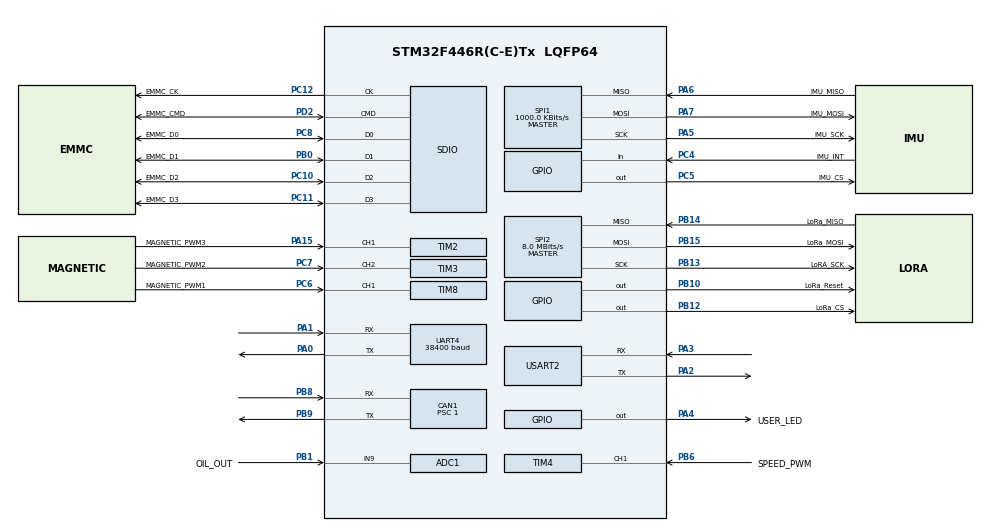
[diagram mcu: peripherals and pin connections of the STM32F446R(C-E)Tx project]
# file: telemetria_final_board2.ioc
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ADC1.Channel-0\#ChannelRegularConversion=ADC_CHANNEL_9
ADC1.ContinuousConvMode=ENABLE
ADC1.NbrOfConversionFlag=1
ADC1.Rank-0\#ChannelRegularConversion=1
ADC1.SamplingTime-0\#ChannelRegularConversion=ADC_SAMPLETIME_15CYCLES
ADC1.master=1
CAN1.BS1=CAN_BS1_13TQ
CAN1.BS2=CAN_BS2_2TQ
CAN1.CalculateBaudRate=1000000
CAN1.CalculateTimeBit=1000
CAN1.CalculateTimeQuantum=62.5
CAN1.Prescaler=1
Dma.Request0=SPI1_RX
Dma.Request1=SPI1_TX
Dma.Request2=SDIO_RX
Dma.Request3=SDIO_TX
Dma.Request4=UART4_RX
Dma.Request5=SPI2_RX
Dma.Request6=SPI2_TX
Dma.SDIO_RX.2.Direction=DMA_PERIPH_TO_MEMORY
Dma.SDIO_RX.2.FIFOMode=DMA_FIFOMODE_ENABLE
Dma.SDIO_RX.2.FIFOThreshold=DMA_FIFO_THRESHOLD_FULL
Dma.SDIO_RX.2.Instance=DMA2_Stream6
Dma.SDIO_RX.2.MemBurst=DMA_MBURST_INC4
Dma.SDIO_RX.2.MemDataAlignment=DMA_MDATAALIGN_WORD
Dma.SDIO_RX.2.MemInc=DMA_MINC_ENABLE
Dma.SDIO_RX.2.Mode=DMA_PFCTRL
Dma.SDIO_RX.2.PeriphBurst=DMA_PBURST_INC4
Dma.SDIO_RX.2.PeriphDataAlignment=DMA_PDATAALIGN_WORD
Dma.SDIO_RX.2.PeriphInc=DMA_PINC_DISABLE
Dma.SDIO_RX.2.Priority=DMA_PRIORITY_HIGH
Dma.SDIO_TX.3.Direction=DMA_MEMORY_TO_PERIPH
Dma.SDIO_TX.3.FIFOMode=DMA_FIFOMODE_ENABLE
Dma.SDIO_TX.3.FIFOThreshold=DMA_FIFO_THRESHOLD_FULL
Dma.SDIO_TX.3.Instance=DMA2_Stream3
Dma.SDIO_TX.3.MemBurst=DMA_MBURST_INC4
Dma.SDIO_TX.3.MemDataAlignment=DMA_MDATAALIGN_WORD
Dma.SDIO_TX.3.MemInc=DMA_MINC_ENABLE
Dma.SDIO_TX.3.Mode=DMA_PFCTRL
Dma.SDIO_TX.3.PeriphBurst=DMA_PBURST_INC4
Dma.SDIO_TX.3.PeriphDataAlignment=DMA_PDATAALIGN_WORD
Dma.SDIO_TX.3.PeriphInc=DMA_PINC_DISABLE
Dma.SDIO_TX.3.Priority=DMA_PRIORITY_HIGH
Dma.SPI1_RX.0.Direction=DMA_PERIPH_TO_MEMORY
Dma.SPI1_RX.0.FIFOMode=DMA_FIFOMODE_DISABLE
Dma.SPI1_RX.0.Instance=DMA2_Stream0
Dma.SPI1_RX.0.MemDataAlignment=DMA_MDATAALIGN_BYTE
Dma.SPI1_RX.0.MemInc=DMA_MINC_ENABLE
Dma.SPI1_RX.0.Mode=DMA_NORMAL
Dma.SPI1_RX.0.PeriphDataAlignment=DMA_PDATAALIGN_BYTE
Dma.SPI1_RX.0.PeriphInc=DMA_PINC_DISABLE
Dma.SPI1_RX.0.Priority=DMA_PRIORITY_HIGH
Dma.SPI1_TX.1.Direction=DMA_MEMORY_TO_PERIPH
Dma.SPI1_TX.1.FIFOMode=DMA_FIFOMODE_DISABLE
Dma.SPI1_TX.1.Instance=DMA2_Stream5
Dma.SPI1_TX.1.MemDataAlignment=DMA_MDATAALIGN_BYTE
Dma.SPI1_TX.1.MemInc=DMA_MINC_ENABLE
Dma.SPI1_TX.1.Mode=DMA_NORMAL
Dma.SPI1_TX.1.PeriphDataAlignment=DMA_PDATAALIGN_BYTE
Dma.SPI1_TX.1.PeriphInc=DMA_PINC_DISABLE
Dma.SPI1_TX.1.Priority=DMA_PRIORITY_HIGH
Dma.SPI2_RX.5.Direction=DMA_PERIPH_TO_MEMORY
Dma.SPI2_RX.5.FIFOMode=DMA_FIFOMODE_DISABLE
Dma.SPI2_RX.5.Instance=DMA1_Stream3
Dma.SPI2_RX.5.MemDataAlignment=DMA_MDATAALIGN_BYTE
Dma.SPI2_RX.5.MemInc=DMA_MINC_ENABLE
Dma.SPI2_RX.5.Mode=DMA_NORMAL
Dma.SPI2_RX.5.PeriphDataAlignment=DMA_PDATAALIGN_BYTE
Dma.SPI2_RX.5.PeriphInc=DMA_PINC_DISABLE
Dma.SPI2_RX.5.Priority=DMA_PRIORITY_LOW
Dma.SPI2_TX.6.Direction=DMA_MEMORY_TO_PERIPH
Dma.SPI2_TX.6.FIFOMode=DMA_FIFOMODE_DISABLE
Dma.SPI2_TX.6.Instance=DMA1_Stream4
Dma.SPI2_TX.6.MemDataAlignment=DMA_MDATAALIGN_BYTE
Dma.SPI2_TX.6.MemInc=DMA_MINC_ENABLE
Dma.SPI2_TX.6.Mode=DMA_NORMAL
Dma.SPI2_TX.6.PeriphDataAlignment=DMA_PDATAALIGN_BYTE
Dma.SPI2_TX.6.PeriphInc=DMA_PINC_DISABLE
Dma.SPI2_TX.6.Priority=DMA_PRIORITY_LOW
Dma.UART4_RX.4.Direction=DMA_PERIPH_TO_MEMORY
Dma.UART4_RX.4.FIFOMode=DMA_FIFOMODE_DISABLE
Dma.UART4_RX.4.Instance=DMA1_Stream2
Dma.UART4_RX.4.MemDataAlignment=DMA_MDATAALIGN_BYTE
Dma.UART4_RX.4.MemInc=DMA_MINC_ENABLE
Dma.UART4_RX.4.Mode=DMA_NORMAL
Dma.UART4_RX.4.PeriphDataAlignment=DMA_PDATAALIGN_BYTE
Dma.UART4_RX.4.PeriphInc=DMA_PINC_DISABLE
Dma.UART4_RX.4.Priority=DMA_PRIORITY_HIGH
Mcu.Family=STM32F4
Mcu.Name=STM32F446R(C-E)Tx
Mcu.Package=LQFP64
NVIC.ADC_IRQn=true\:0\:0\:false\:false\:true\:true\:true\:true
NVIC.CAN1_RX0_IRQn=true\:0\:0\:false\:false\:true\:true\:true\:true
NVIC.CAN1_RX1_IRQn=true\:0\:0\:false\:false\:true\:true\:true\:true
NVIC.DMA1_Stream2_IRQn=true\:0\:0\:false\:false\:true\:false\:true\:true
NVIC.DMA1_Stream3_IRQn=true\:0\:0\:false\:false\:true\:false\:true\:true
NVIC.DMA1_Stream4_IRQn=true\:0\:0\:false\:false\:true\:false\:true\:true
NVIC.DMA2_Stream0_IRQn=true\:0\:0\:false\:false\:true\:false\:true\:true
NVIC.DMA2_Stream3_IRQn=true\:0\:0\:false\:false\:true\:false\:true\:true
NVIC.DMA2_Stream5_IRQn=true\:0\:0\:false\:false\:true\:false\:true\:true
NVIC.DMA2_Stream6_IRQn=true\:0\:0\:false\:false\:true\:false\:true\:true
NVIC.PriorityGroup=NVIC_PRIORITYGROUP_4
NVIC.SDIO_IRQn=true\:0\:0\:false\:false\:true\:true\:true\:true
NVIC.TIM1_BRK_TIM9_IRQn=true\:0\:0\:false\:false\:true\:true\:true\:true
NVIC.TIM1_CC_IRQn=true\:0\:0\:false\:false\:true\:true\:true\:true
NVIC.TIM1_TRG_COM_TIM11_IRQn=true\:0\:0\:false\:false\:true\:true\:true\:true
NVIC.TIM1_UP_TIM10_IRQn=true\:0\:0\:false\:false\:true\:true\:true\:true
NVIC.TIM2_IRQn=true\:0\:0\:false\:false\:true\:true\:true\:true
NVIC.TIM3_IRQn=true\:0\:0\:false\:false\:true\:true\:true\:true
NVIC.TIM4_IRQn=true\:0\:0\:false\:false\:true\:true\:true\:true
NVIC.TIM8_BRK_TIM12_IRQn=true\:0\:0\:false\:false\:true\:true\:true\:true
NVIC.TIM8_CC_IRQn=true\:0\:0\:false\:false\:true\:true\:true\:true
NVIC.TIM8_TRG_COM_TIM14_IRQn=true\:0\:0\:false\:false\:true\:true\:true\:true
NVIC.TIM8_UP_TIM13_IRQn=true\:0\:0\:false\:false\:true\:true\:true\:true
NVIC.UART4_IRQn=true\:0\:0\:false\:false\:true\:true\:true\:true
PA0-WKUP.Mode=Asynchronous
PA0-WKUP.Signal=UART4_TX
PA1.Mode=Asynchronous
PA1.Signal=UART4_RX
PA13.Mode=Serial_Wire
PA13.Signal=SYS_JTMS-SWDIO
PA14.Mode=Serial_Wire
PA14.Signal=SYS_JTCK-SWCLK
PA15.GPIO_Label=MAGNETIC_PWM3
PA15.Signal=S_TIM2_CH1_ETR
PA2.Mode=Asynchronous
PA2.Signal=USART2_TX
PA3.Mode=Asynchronous
PA3.Signal=USART2_RX
PA4.GPIO_Label=USER_LED
PA4.Signal=GPIO_Output
PA5.GPIO_Label=IMU_SCK
PA5.Mode=Full_Duplex_Master
PA5.Signal=SPI1_SCK
PA6.GPIO_Label=IMU_MISO
PA6.Mode=Full_Duplex_Master
PA6.Signal=SPI1_MISO
PA7.GPIO_Label=IMU_MOSI
PA7.Mode=Full_Duplex_Master
PA7.Signal=SPI1_MOSI
PB0.GPIO_Label=EMMC_D1
PB0.Mode=mmc_4_bits_Wide_bus
PB0.Signal=SDIO_D1
PB1.GPIO_Label=OIL_OUT
PB1.Signal=ADCx_IN9
PB10.GPIO_Label=LoRa_Reset
PB10.Signal=GPIO_Output
PB12.GPIO_Label=LoRa_CS
PB12.Signal=GPIO_Output
PB13.GPIO_Label=LoRA_SCK
PB13.Mode=Full_Duplex_Master
PB13.Signal=SPI2_SCK
PB14.GPIO_Label=LoRa_MISO
PB14.Mode=Full_Duplex_Master
PB14.Signal=SPI2_MISO
PB15.GPIO_Label=LoRa_MOSI
PB15.Mode=Full_Duplex_Master
PB15.Signal=SPI2_MOSI
PB6.GPIO_Label=SPEED_PWM
PB6.Signal=S_TIM4_CH1
PB8.Mode=CAN_Activate
PB8.Signal=CAN1_RX
PB9.Mode=CAN_Activate
PB9.Signal=CAN1_TX
PC10.GPIO_Label=EMMC_D2
PC10.Mode=mmc_4_bits_Wide_bus
PC10.Signal=SDIO_D2
PC11.GPIO_Label=EMMC_D3
PC11.Mode=mmc_4_bits_Wide_bus
PC11.Signal=SDIO_D3
PC12.GPIO_Label=EMMC_CK
PC12.Mode=mmc_4_bits_Wide_bus
PC12.Signal=SDIO_CK
PC14-OSC32_IN.Mode=LSE-External-Oscillator
PC14-OSC32_IN.Signal=RCC_OSC32_IN
PC15-OSC32_OUT.Mode=LSE-External-Oscillator
PC15-OSC32_OUT.Signal=RCC_OSC32_OUT
PC4.GPIO_Label=IMU_INT
PC4.Signal=GPIO_Input
PC5.GPIO_Label=IMU_CS
PC5.Signal=GPIO_Output
PC6.GPIO_Label=MAGNETIC_PWM1
PC6.Signal=S_TIM8_CH1
PC7.GPIO_Label=MAGNETIC_PWM2
PC7.Signal=S_TIM3_CH2
PC8.GPIO_Label=EMMC_D0
PC8.Mode=mmc_4_bits_Wide_bus
PC8.Signal=SDIO_D0
PD2.GPIO_Label=EMMC_CMD
PD2.Mode=mmc_4_bits_Wide_bus
PD2.Signal=SDIO_CMD
ProjectManager.HeapSize=0x200
ProjectManager.StackSize=0x400
ProjectManager.TargetToolchain=STM32CubeIDE
RCC.CortexFreq_Value=16000000
RCC.PLLQ=4
RCC.RCC_RTC_Clock_SourceVirtual=RCC_RTCCLKSOURCE_LSE
RCC.USBFreq_Value=48000000
RCC.VCOOutputFreq_Value=192000000
RTC.Date=25
RTC.Hours=15
RTC.Minutes=47
RTC.Month=RTC_MONTH_SEPTEMBER
RTC.WeekDay=RTC_WEEKDAY_THURSDAY
RTC.Year=25
SDIO.ClockDiv=118
SH.ADCx_IN9.0=ADC1_IN9,IN9
SH.S_TIM2_CH1_ETR.0=TIM2_CH1,PWM_Input_1
SH.S_TIM3_CH2.0=TIM3_CH2,PWM_Input_2
SH.S_TIM4_CH1.0=TIM4_CH1,PWM_Input_1
SH.S_TIM8_CH1.0=TIM8_CH1,PWM_Input_1
SPI1.BaudRatePrescaler=SPI_BAUDRATEPRESCALER_16
SPI1.CLKPhase=SPI_PHASE_2EDGE
SPI1.CLKPolarity=SPI_POLARITY_HIGH
SPI1.CalculateBaudRate=1000.0 KBits/s
SPI1.Direction=SPI_DIRECTION_2LINES
SPI1.Mode=SPI_MODE_MASTER
SPI1.VirtualType=VM_MASTER
SPI2.CalculateBaudRate=8.0 MBits/s
SPI2.Direction=SPI_DIRECTION_2LINES
SPI2.Mode=SPI_MODE_MASTER
SPI2.VirtualType=VM_MASTER
TIM1.Period=999
TIM1.Prescaler=79
TIM14.Period=99
TIM14.Prescaler=159
TIM2.Prescaler=9
TIM8.ICFilter_2=0
TIM8.Prescaler=0
UART4.BaudRate=38400
UART4.VirtualMode=Asynchronous
USART2.VirtualMode=VM_ASYNC
VP_RTC_VS_RTC_Activate.Mode=RTC_Enabled
VP_RTC_VS_RTC_Calendar.Mode=RTC_Calendar
VP_TIM14_VS_ClockSourceINT.Mode=Enable_Timer
VP_TIM1_VS_ClockSourceINT.Mode=Internal
VP_TIM2_VS_ClockSourceINT.Mode=Internal
VP_TIM3_VS_ClockSourceINT.Mode=Internal
VP_TIM4_VS_ClockSourceINT.Mode=Internal
VP_TIM8_VS_ClockSourceINT.Mode=Internal
board=custom

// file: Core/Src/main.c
/* USER CODE BEGIN Header */
/**
  ******************************************************************************
  * @file           : main.c
  * @brief          : Main program body
  ******************************************************************************
  * @attention
  *
  * Copyright (c) 2025 STMicroelectronics.
  * All rights reserved.
  *
  * This software is licensed under terms that can be found in the LICENSE file
  * in the root directory of this software component.
  * If no LICENSE file comes with this software, it is provided AS-IS.
  *
  ******************************************************************************
  */
/* USER CODE END Header */
#include "main.h"

/* USER CODE BEGIN Includes */
#include <stdio.h>
#include <string.h>

#include "CO_app_STM32.h"
#include "OD.h"
/* USER CODE END Includes */

ADC_HandleTypeDef hadc1;

CAN_HandleTypeDef hcan1;

RTC_HandleTypeDef hrtc;

MMC_HandleTypeDef hmmc;
DMA_HandleTypeDef hdma_sdio_rx;
DMA_HandleTypeDef hdma_sdio_tx;

SPI_HandleTypeDef hspi1;
SPI_HandleTypeDef hspi2;
DMA_HandleTypeDef hdma_spi1_rx;
DMA_HandleTypeDef hdma_spi1_tx;
DMA_HandleTypeDef hdma_spi2_rx;
DMA_HandleTypeDef hdma_spi2_tx;

TIM_HandleTypeDef htim1;
TIM_HandleTypeDef htim2;
TIM_HandleTypeDef htim3;
TIM_HandleTypeDef htim4;
TIM_HandleTypeDef htim8;
TIM_HandleTypeDef htim14;

UART_HandleTypeDef huart4;
UART_HandleTypeDef huart2;
DMA_HandleTypeDef hdma_uart4_rx;

void SystemClock_Config(void);
static void MX_GPIO_Init(void);
static void MX_DMA_Init(void);
static void MX_SPI1_Init(void);
static void MX_USART2_UART_Init(void);
static void MX_SDIO_MMC_Init(void);
static void MX_RTC_Init(void);
static void MX_UART4_Init(void);
static void MX_TIM14_Init(void);
static void MX_CAN1_Init(void);
static void MX_TIM4_Init(void);
static void MX_TIM3_Init(void);
static void MX_TIM8_Init(void);
static void MX_SPI2_Init(void);
static void MX_TIM1_Init(void);
static void MX_TIM2_Init(void);
static void MX_ADC1_Init(void);

/* USER CODE BEGIN 0 */

#define Oil_pressure_data_size sizeof(int)

uint32_t memBlock=1;

Sensor accel; // data saved as xyz
Sensor gyro; // data saved as xyz
Sensor mag; //

uint32_t timestamp = 0;
uint32_t counter_ms = 0;

char timestamp_str[20];  // "YYYYMMDD_HHMMSS\r\n\0" = 18+1 máx
char timestamp_msg[50];

RTC_TimeTypeDef sTime;
RTC_DateTypeDef sDate;

/*#define CAPTURE_BUFFER_SIZE 100
typedef struct {
	Sensor sensor;
	uint32_t ultima_pos;
	uint32_t atual_pos;
	uint32_t ch1_buffer[CAPTURE_BUFFER_SIZE];
	uint32_t ch2_buffer[CAPTURE_BUFFER_SIZE];
	uint32_t tempo_total_us;

} Speed_Sensor;

Speed_Sensor speed_sensor;*/

Sensor speed_sensor; //saving signal frequency
Sensor front_susp_sensor;
Sensor rear_susp_sensor;
Sensor steering_angle_sensor;
uint32_t capture_value_speed, capture_value2_speed, frequency_speed;
//--------------------------------------------------------------
//extitimvelocidade
//--------------------------------------------------------------

/*uint16_t calcular_velocidade_kmh_int(uint32_t pos) {
	uint64_t soma_us = 0;

	for (int i = 0; i < MEDIA_N; i++) {
		uint32_t idx = (pos - i + CAPTURE_BUFFER_SIZE) % CAPTURE_BUFFER_SIZE;
		soma_us += speed_sensor.ch2_buffer[idx];
	}

	if (soma_us == 0)
		return 0;

	uint32_t media_us = soma_us / MEDIA_N;
	uint32_t velocidade_kmh = (ESCALA_TOTAL * MM_POR_ROT)
			/ (media_us * PULSOS_POR_ROT);

	return (uint16_t) velocidade_kmh;
}

void speedsensorisr(){
	static uint32_t ultima_pos = 0;
	uint32_t atual_pos = DMA_POS();
	if (atual_pos >= CAPTURE_BUFFER_SIZE)
		return;

	if (atual_pos != ultima_pos) {
		ultima_pos = atual_pos;
		uint32_t delta_us = speed_sensor.ch2_buffer[atual_pos];
		speed_sensor.tempo_total_us += delta_us;
		uint16_t vel_kmh = calcular_velocidade_kmh_int(atual_pos);
		uint8_t inteiro = vel_kmh / 100;
		uint8_t decimal = vel_kmh % 100;
		//rpm = vel_kmh *1000 / (pi * D * 60)

		char msg[128];
		snprintf(msg, sizeof(msg),
				"Tempo = %lu us | Velocidade = %u.%02u km/h | Δt = %lu us\r\n",
				speed_sensor.tempo_total_us, inteiro, decimal, delta_us);

		HAL_UART_Transmit(&huart2, (uint8_t*) msg, strlen(msg),HAL_MAX_DELAY);
	}
}*/

//RTC---------------------------------------
LoRaMessage loraGpsMsg;  // acessado no callback e no SendLoRa
LoRaMessage loraIMUMsg;  // acessado no callback e no SendLoRa
LoRaMessage loraCAN1HzMsg;  // acessado no callback e no SendLoRa
LoRaMessage loraCAN2HzMsg;  // acessado no callback e no SendLoRa
LoRaMessage loraSpeedMsg;  // acessado no callback e no SendLoRa
LoRaMessage loraOilMsg;  // acessado no callback e no SendLoRa

char uart_msg[1050];
Sensor gps;
int flagGPS=0;
uint8_t rx_dma_buffer[NMEA_BUF_SIZE];  // Buffer DMA para recepção
int flagLoRaModuleInitialized=0;

void HAL_UARTEx_RxEventCallback(UART_HandleTypeDef *huart, uint16_t Size)
{
	//HAL_GPIO_WritePin(GPIOA, GPIO_PIN_10,1);
    if (huart->Instance == UART4) {
    	flagLoRaGPS= flagLoRaModuleInitialized & 1;
    	gps_RxEventCallback(Size);

    }
    //HAL_GPIO_WritePin(GPIOA, GPIO_PIN_10,0);
}

//--------------------------------------------------------------
//IMU_SPI
//--------------------------------------------------------------
// Buffers para dados lidos
uint8_t tx_buffer[128];
uint8_t accelData[6]; //buffer com os dados do accel
uint8_t gyroData[6];
uint8_t accelSPI[6+6+1]; //buffer de leitura do SPI em que o primeiro não interessa

uint8_t magData[6];
uint8_t magSPI[9+1];        // buffer for 9 bytes mag data (+1 dummy)

//interrupt do SPI
void HAL_SPI_TxRxCpltCallback(SPI_HandleTypeDef *hspi) {
	//HAL_GPIO_WritePin(GPIOA, GPIO_PIN_9,1);
	if (hspi->Instance == SPI1) {
		IMU_TxRxCpltCallback();

	}
	//HAL_GPIO_WritePin(GPIOA, GPIO_PIN_9,0);
}

int counter=0;
int flagLoRaGPS=0;
int flagLoRaIMUAttitude=0;
int flagLoRaCAN1Hz=0;
int flagLoRaCAN2Hz=0;
int flagLoRaSpeed=0;
int flagLoRaOil=0;

void HAL_TIM_PeriodElapsedCallback(TIM_HandleTypeDef *htim)
{
  if(htim->Instance == TIM1)
  {
	/*if(counter % 4 == 0){ //50Hz
		//Strain_gauge_ISR();
	}*/
	if(counter % 20 == 0){ //10Hz
		ICM20948_ISR(1);
		Speed_ISR();
		//flagLoRaGPS= flagLoRaModuleInitialized & 1;
		flagLoRaSpeed= flagLoRaModuleInitialized & 1;
		flagLoRaOil= flagLoRaModuleInitialized & 1;
	}else{
		ICM20948_ISR(0);
	}
	if(counter % 100 == 0) {  // 2Hz
		//IMU_Attitude_ISR();
		flagLoRaIMUAttitude= flagLoRaModuleInitialized & 1;
		flagLoRaCAN2Hz= flagLoRaModuleInitialized & 1;
	}
	if(counter % 200 == 0) {  // 1Hz
		flagLoRaCAN1Hz= flagLoRaModuleInitialized & 1;
	}

	Oil_pressure_ISR();
	Front_suspension_magnet_ISR();
	//Front_suspension_vision_ISR();
	Rear_suspension_ISR();
	Steering_angle_ISR();

	counter=(counter+1) % 10000;
  }
  if(htim->Instance == TIM14)
  {
	  counter_ms = (counter_ms + 1) % 1000;
  }
  if (htim == canopenNodeSTM32->timerHandle) {
      canopen_app_interrupt();
  }
}

////////////////////////////////////////////////////////////////////////////////////////////////////
////////////////////////////////////////////////////////////////////////////////////////////////////
//
//					MMC codes
//
////////////////////////////////////////////////////////////////////////////////////////////////////
//////////////////////////////////////////////////////////////////////////////////////////////////77

// Buffer de sector (alinhado p/ SDIO DMA)
__attribute__((aligned(4))) static uint8_t sector0[512];
__attribute__((aligned(4))) static uint8_t sector0read[512];

//////////////////////////////////////////////////////////////////////////////////////////////////////////
//
//              CANOPEN
//
//////////////////////////////////////////////////////////////////////////////////////////////////////77/
Sensor CAN;
CANopenNodeSTM32 canOpenNodeSTM32;

void canopeninit___(){
	canOpenNodeSTM32.CANHandle = &hcan1;
	canOpenNodeSTM32.HWInitFunction = MX_CAN1_Init;
	canOpenNodeSTM32.timerHandle = &htim14;
	canOpenNodeSTM32.desiredNodeID = 1;
	canOpenNodeSTM32.baudrate = 125;
	canopen_app_init(&canOpenNodeSTM32);
}

//////////////////////////////////////////////////////////////////////////////////////////////////////////
//
//              Oil Sensor
//
//////////////////////////////////////////////////////////////////////////////////////////////////////77/
Sensor oil_sensor;
// Callback de conversão completa do ADC – chamado quando ADC1 terminar uma conversão
void HAL_ADC_ConvCpltCallback(ADC_HandleTypeDef *hadc) {
    // Verifica se o callback veio do ADC1
    if (hadc->Instance == ADC1) {
        // Lê o valor convertido do ADC (0-4095 para 12 bits)
        uint16_t adcValue = HAL_ADC_GetValue(hadc);

		//snprintf((char *)tx_buffer, sizeof(tx_buffer),"%d\r\n",adcValue);
		//HAL_UART_Transmit(&huart2, tx_buffer, strlen((char *)tx_buffer), HAL_MAX_DELAY);
        save_data_to_sensor(&oil_sensor,adcValue);

    	//char msg[64];
    	//sprintf(msg, "ADC = %lu\r\n",adcValue);
    	//HAL_UART_Transmit(&huart2, (uint8_t*)msg, strlen(msg), HAL_MAX_DELAY);
    }
}

int programDateAndHour=0;
/* USER CODE END 0 */

int main(void)
{

  /* MCU Configuration--------------------------------------------------------*/

  /* Reset of all peripherals, Initializes the Flash interface and the Systick. */
  HAL_Init();

  /* Configure the system clock */
  SystemClock_Config();

  /* Initialize all configured peripherals */
  MX_GPIO_Init();
  MX_DMA_Init();
  MX_SPI1_Init();
  MX_USART2_UART_Init();
  MX_SDIO_MMC_Init();
  MX_RTC_Init();
  MX_UART4_Init();
  MX_TIM14_Init();
  MX_CAN1_Init();
  MX_TIM4_Init();
  MX_TIM3_Init();
  MX_TIM8_Init();
  MX_SPI2_Init();
  MX_TIM1_Init();
  MX_TIM2_Init();
  MX_ADC1_Init();
  /* USER CODE BEGIN 2 */
  snprintf(uart_msg, sizeof(uart_msg), "All STM32 peripherals configured!\r\n");
  HAL_UART_Transmit(&huart2, (uint8_t*)uart_msg, strlen(uart_msg), HAL_MAX_DELAY);

  __HAL_MMC_DISABLE(&hmmc);
  MODIFY_REG(hmmc.Instance->CLKCR, SDIO_CLKCR_CLKDIV, 2);  // ~6 MHz
  __HAL_MMC_ENABLE(&hmmc);

  int extract_data=0;
  if (extract_data){
	  SDIO_ReadAllData();
	  while(1);
  }

  int reset_mem=0;
  if(reset_mem)
	  update_memBlock_nr();
  get_memBlock_nr();

  // Início LoRa
  char startMsg[] = "\r\nIniciando transmissor LoRa...\r\n";
  int LoRaStartTries = 0;
  HAL_UART_Transmit(&huart2, (uint8_t*)startMsg, strlen(startMsg), HAL_MAX_DELAY);
  while (RFM95_Init() != RFM95_OK && LoRaStartTries < 10) {
      // Se falhar, tentar outra vez
      char errMsg[] = "Falha na iniciacao do RFM95! Vou tentar outra vez.\r\n";
      HAL_UART_Transmit(&huart2, (uint8_t*)errMsg, strlen(errMsg), HAL_MAX_DELAY);
      LoRaStartTries++;
      //HAL_Delay(10);
  }
  if(LoRaStartTries < 10)
	  flagLoRaModuleInitialized=1;
  else {
	  char errMsg[] = "ERRO modulo LoRa nao iniciado!\r\n";
	  HAL_UART_Transmit(&huart2, (uint8_t*)errMsg, strlen(errMsg), HAL_MAX_DELAY);
  };

  ICM20948_Setup();
  canopeninit___();

  accel.sensorType=1;
  gyro.sensorType=2;
  mag.sensorType=3;
  gps.sensorType=4;
  CAN.sensorType=5;
  speed_sensor.sensorType=6;
  oil_sensor.sensorType=7;
  front_susp_sensor.sensorType=8;
  rear_susp_sensor.sensorType=9;
  steering_angle_sensor.sensorType=10;

  update_timestamp();
  uint32_t timestampprevious=timestamp;
  while (timestampprevious == timestamp){
	  update_timestamp();
  }
  HAL_TIM_Base_Start_IT(&htim14); // Iniciar o timer com interrupções

  // Inicia a recepção pela UART
  snprintf(uart_msg, sizeof(uart_msg), "À espera da receção GNSS...\r\n");
  HAL_UART_Transmit(&huart2, (uint8_t*)uart_msg, strlen(uart_msg), HAL_MAX_DELAY);
  HAL_UARTEx_ReceiveToIdle_DMA(&huart4, rx_dma_buffer, NMEA_BUF_SIZE);

  HAL_TIM_Base_Start_IT(&htim1); // Iniciar o timer com interrupções

  /* USER CODE END 2 */

  /* Infinite loop */
  /* USER CODE BEGIN WHILE */
  while (1)
  {
	  //write_IMU_data();
	  //write_gps_data();
	  //write_brake_pressure_data();

	  save_data_to_mem(&accel);
	  save_data_to_mem(&gyro);
	  save_data_to_mem(&mag);
	  save_data_to_mem(&gps);
	  save_data_to_mem(&CAN);
	  save_data_to_mem(&speed_sensor);
	  save_data_to_mem(&oil_sensor);
	  save_data_to_mem(&front_susp_sensor);
	  save_data_to_mem(&rear_susp_sensor);
	  save_data_to_mem(&steering_angle_sensor);

	  SendLoRa();
	  canopen_app_process();

    /* USER CODE END WHILE */

  }
}

void SystemClock_Config(void)
{
  RCC_OscInitTypeDef RCC_OscInitStruct = {0};
  RCC_ClkInitTypeDef RCC_ClkInitStruct = {0};

  /** Configure the main internal regulator output voltage
  */
  __HAL_RCC_PWR_CLK_ENABLE();
  __HAL_PWR_VOLTAGESCALING_CONFIG(PWR_REGULATOR_VOLTAGE_SCALE3);

  /** Initializes the RCC Oscillators according to the specified parameters
  * in the RCC_OscInitTypeDef structure.
  */
  RCC_OscInitStruct.OscillatorType = RCC_OSCILLATORTYPE_HSI|RCC_OSCILLATORTYPE_LSE;
  RCC_OscInitStruct.LSEState = RCC_LSE_ON;
  RCC_OscInitStruct.HSIState = RCC_HSI_ON;
  RCC_OscInitStruct.HSICalibrationValue = RCC_HSICALIBRATION_DEFAULT;
  RCC_OscInitStruct.PLL.PLLState = RCC_PLL_ON;
  RCC_OscInitStruct.PLL.PLLSource = RCC_PLLSOURCE_HSI;
  RCC_OscInitStruct.PLL.PLLM = 16;
  RCC_OscInitStruct.PLL.PLLN = 192;
  RCC_OscInitStruct.PLL.PLLP = RCC_PLLP_DIV2;
  RCC_OscInitStruct.PLL.PLLQ = 4;
  RCC_OscInitStruct.PLL.PLLR = 2;
  if (HAL_RCC_OscConfig(&RCC_OscInitStruct) != HAL_OK)
  {
    Error_Handler();
  }

  /** Initializes the CPU, AHB and APB buses clocks
  */
  RCC_ClkInitStruct.ClockType = RCC_CLOCKTYPE_HCLK|RCC_CLOCKTYPE_SYSCLK
                              |RCC_CLOCKTYPE_PCLK1|RCC_CLOCKTYPE_PCLK2;
  RCC_ClkInitStruct.SYSCLKSource = RCC_SYSCLKSOURCE_HSI;
  RCC_ClkInitStruct.AHBCLKDivider = RCC_SYSCLK_DIV1;
  RCC_ClkInitStruct.APB1CLKDivider = RCC_HCLK_DIV1;
  RCC_ClkInitStruct.APB2CLKDivider = RCC_HCLK_DIV1;

  if (HAL_RCC_ClockConfig(&RCC_ClkInitStruct, FLASH_LATENCY_0) != HAL_OK)
  {
    Error_Handler();
  }
}

static void MX_ADC1_Init(void)
{

  ADC_ChannelConfTypeDef sConfig = {0};

  /** Configure the global features of the ADC (Clock, Resolution, Data Alignment and number of conversion)
  */
  hadc1.Instance = ADC1;
  hadc1.Init.ClockPrescaler = ADC_CLOCK_SYNC_PCLK_DIV2;
  hadc1.Init.Resolution = ADC_RESOLUTION_12B;
  hadc1.Init.ScanConvMode = DISABLE;
  hadc1.Init.ContinuousConvMode = ENABLE;
  hadc1.Init.DiscontinuousConvMode = DISABLE;
  hadc1.Init.ExternalTrigConvEdge = ADC_EXTERNALTRIGCONVEDGE_NONE;
  hadc1.Init.ExternalTrigConv = ADC_SOFTWARE_START;
  hadc1.Init.DataAlign = ADC_DATAALIGN_RIGHT;
  hadc1.Init.NbrOfConversion = 1;
  hadc1.Init.DMAContinuousRequests = DISABLE;
  hadc1.Init.EOCSelection = ADC_EOC_SINGLE_CONV;
  if (HAL_ADC_Init(&hadc1) != HAL_OK)
  {
    Error_Handler();
  }

  /** Configure for the selected ADC regular channel its corresponding rank in the sequencer and its sample time.
  */
  sConfig.Channel = ADC_CHANNEL_9;
  sConfig.Rank = 1;
  sConfig.SamplingTime = ADC_SAMPLETIME_15CYCLES;
  if (HAL_ADC_ConfigChannel(&hadc1, &sConfig) != HAL_OK)
  {
    Error_Handler();
  }

}

static void MX_CAN1_Init(void)
{

  hcan1.Instance = CAN1;
  hcan1.Init.Prescaler = 1;
  hcan1.Init.Mode = CAN_MODE_NORMAL;
  hcan1.Init.SyncJumpWidth = CAN_SJW_1TQ;
  hcan1.Init.TimeSeg1 = CAN_BS1_13TQ;
  hcan1.Init.TimeSeg2 = CAN_BS2_2TQ;
  hcan1.Init.TimeTriggeredMode = DISABLE;
  hcan1.Init.AutoBusOff = DISABLE;
  hcan1.Init.AutoWakeUp = DISABLE;
  hcan1.Init.AutoRetransmission = DISABLE;
  hcan1.Init.ReceiveFifoLocked = DISABLE;
  hcan1.Init.TransmitFifoPriority = DISABLE;
  if (HAL_CAN_Init(&hcan1) != HAL_OK)
  {
    Error_Handler();
  }

}

static void MX_RTC_Init(void)
{

  RTC_TimeTypeDef sTime = {0};
  RTC_DateTypeDef sDate = {0};

  /** Initialize RTC Only
  */
  hrtc.Instance = RTC;
  hrtc.Init.HourFormat = RTC_HOURFORMAT_24;
  hrtc.Init.AsynchPrediv = 127;
  hrtc.Init.SynchPrediv = 255;
  hrtc.Init.OutPut = RTC_OUTPUT_DISABLE;
  hrtc.Init.OutPutPolarity = RTC_OUTPUT_POLARITY_HIGH;
  hrtc.Init.OutPutType = RTC_OUTPUT_TYPE_OPENDRAIN;
  if (HAL_RTC_Init(&hrtc) != HAL_OK)
  {
    Error_Handler();
  }

  /* USER CODE BEGIN Check_RTC_BKUP */
  if (programDateAndHour==0){
	return;
  }
  /* USER CODE END Check_RTC_BKUP */

  /** Initialize RTC and set the Time and Date
  */
  sTime.Hours = 0x15;
  sTime.Minutes = 0x47;
  sTime.Seconds = 0x0;
  sTime.DayLightSaving = RTC_DAYLIGHTSAVING_NONE;
  sTime.StoreOperation = RTC_STOREOPERATION_RESET;
  if (HAL_RTC_SetTime(&hrtc, &sTime, RTC_FORMAT_BCD) != HAL_OK)
  {
    Error_Handler();
  }
  sDate.WeekDay = RTC_WEEKDAY_THURSDAY;
  sDate.Month = RTC_MONTH_SEPTEMBER;
  sDate.Date = 0x25;
  sDate.Year = 0x25;

  if (HAL_RTC_SetDate(&hrtc, &sDate, RTC_FORMAT_BCD) != HAL_OK)
  {
    Error_Handler();
  }

}

static void MX_SDIO_MMC_Init(void)
{

  hmmc.Instance = SDIO;
  hmmc.Init.ClockEdge = SDIO_CLOCK_EDGE_RISING;
  hmmc.Init.ClockBypass = SDIO_CLOCK_BYPASS_DISABLE;
  hmmc.Init.ClockPowerSave = SDIO_CLOCK_POWER_SAVE_DISABLE;
  hmmc.Init.BusWide = SDIO_BUS_WIDE_1B;
  hmmc.Init.HardwareFlowControl = SDIO_HARDWARE_FLOW_CONTROL_DISABLE;
  hmmc.Init.ClockDiv = 118;
  if (HAL_MMC_Init(&hmmc) != HAL_OK)
  {
    Error_Handler();
  }
  if (HAL_MMC_ConfigWideBusOperation(&hmmc, SDIO_BUS_WIDE_4B) != HAL_OK)
  {
    Error_Handler();
  }

}

static void MX_SPI1_Init(void)
{

  /* SPI1 parameter configuration*/
  hspi1.Instance = SPI1;
  hspi1.Init.Mode = SPI_MODE_MASTER;
  hspi1.Init.Direction = SPI_DIRECTION_2LINES;
  hspi1.Init.DataSize = SPI_DATASIZE_8BIT;
  hspi1.Init.CLKPolarity = SPI_POLARITY_HIGH;
  hspi1.Init.CLKPhase = SPI_PHASE_2EDGE;
  hspi1.Init.NSS = SPI_NSS_SOFT;
  hspi1.Init.BaudRatePrescaler = SPI_BAUDRATEPRESCALER_16;
  hspi1.Init.FirstBit = SPI_FIRSTBIT_MSB;
  hspi1.Init.TIMode = SPI_TIMODE_DISABLE;
  hspi1.Init.CRCCalculation = SPI_CRCCALCULATION_DISABLE;
  hspi1.Init.CRCPolynomial = 10;
  if (HAL_SPI_Init(&hspi1) != HAL_OK)
  {
    Error_Handler();
  }

}

static void MX_SPI2_Init(void)
{

  /* SPI2 parameter configuration*/
  hspi2.Instance = SPI2;
  hspi2.Init.Mode = SPI_MODE_MASTER;
  hspi2.Init.Direction = SPI_DIRECTION_2LINES;
  hspi2.Init.DataSize = SPI_DATASIZE_8BIT;
  hspi2.Init.CLKPolarity = SPI_POLARITY_LOW;
  hspi2.Init.CLKPhase = SPI_PHASE_1EDGE;
  hspi2.Init.NSS = SPI_NSS_SOFT;
  hspi2.Init.BaudRatePrescaler = SPI_BAUDRATEPRESCALER_2;
  hspi2.Init.FirstBit = SPI_FIRSTBIT_MSB;
  hspi2.Init.TIMode = SPI_TIMODE_DISABLE;
  hspi2.Init.CRCCalculation = SPI_CRCCALCULATION_DISABLE;
  hspi2.Init.CRCPolynomial = 10;
  if (HAL_SPI_Init(&hspi2) != HAL_OK)
  {
    Error_Handler();
  }

}

static void MX_TIM1_Init(void)
{

  TIM_ClockConfigTypeDef sClockSourceConfig = {0};
  TIM_MasterConfigTypeDef sMasterConfig = {0};

  htim1.Instance = TIM1;
  htim1.Init.Prescaler = 79;
  htim1.Init.CounterMode = TIM_COUNTERMODE_UP;
  htim1.Init.Period = 999;
  htim1.Init.ClockDivision = TIM_CLOCKDIVISION_DIV1;
  htim1.Init.RepetitionCounter = 0;
  htim1.Init.AutoReloadPreload = TIM_AUTORELOAD_PRELOAD_DISABLE;
  if (HAL_TIM_Base_Init(&htim1) != HAL_OK)
  {
    Error_Handler();
  }
  sClockSourceConfig.ClockSource = TIM_CLOCKSOURCE_INTERNAL;
  if (HAL_TIM_ConfigClockSource(&htim1, &sClockSourceConfig) != HAL_OK)
  {
    Error_Handler();
  }
  sMasterConfig.MasterOutputTrigger = TIM_TRGO_RESET;
  sMasterConfig.MasterSlaveMode = TIM_MASTERSLAVEMODE_DISABLE;
  if (HAL_TIMEx_MasterConfigSynchronization(&htim1, &sMasterConfig) != HAL_OK)
  {
    Error_Handler();
  }

}

static void MX_TIM2_Init(void)
{

  TIM_ClockConfigTypeDef sClockSourceConfig = {0};
  TIM_SlaveConfigTypeDef sSlaveConfig = {0};
  TIM_IC_InitTypeDef sConfigIC = {0};
  TIM_MasterConfigTypeDef sMasterConfig = {0};

  htim2.Instance = TIM2;
  htim2.Init.Prescaler = 9;
  htim2.Init.CounterMode = TIM_COUNTERMODE_UP;
  htim2.Init.Period = 4294967295;
  htim2.Init.ClockDivision = TIM_CLOCKDIVISION_DIV1;
  htim2.Init.AutoReloadPreload = TIM_AUTORELOAD_PRELOAD_DISABLE;
  if (HAL_TIM_Base_Init(&htim2) != HAL_OK)
  {
    Error_Handler();
  }
  sClockSourceConfig.ClockSource = TIM_CLOCKSOURCE_INTERNAL;
  if (HAL_TIM_ConfigClockSource(&htim2, &sClockSourceConfig) != HAL_OK)
  {
    Error_Handler();
  }
  if (HAL_TIM_IC_Init(&htim2) != HAL_OK)
  {
    Error_Handler();
  }
  sSlaveConfig.SlaveMode = TIM_SLAVEMODE_RESET;
  sSlaveConfig.InputTrigger = TIM_TS_TI1FP1;
  sSlaveConfig.TriggerPolarity = TIM_INPUTCHANNELPOLARITY_RISING;
  sSlaveConfig.TriggerPrescaler = TIM_ICPSC_DIV1;
  sSlaveConfig.TriggerFilter = 0;
  if (HAL_TIM_SlaveConfigSynchro(&htim2, &sSlaveConfig) != HAL_OK)
  {
    Error_Handler();
  }
  sConfigIC.ICPolarity = TIM_INPUTCHANNELPOLARITY_RISING;
  sConfigIC.ICSelection = TIM_ICSELECTION_DIRECTTI;
  sConfigIC.ICPrescaler = TIM_ICPSC_DIV1;
  sConfigIC.ICFilter = 0;
  if (HAL_TIM_IC_ConfigChannel(&htim2, &sConfigIC, TIM_CHANNEL_1) != HAL_OK)
  {
    Error_Handler();
  }
  sConfigIC.ICPolarity = TIM_INPUTCHANNELPOLARITY_FALLING;
  sConfigIC.ICSelection = TIM_ICSELECTION_INDIRECTTI;
  if (HAL_TIM_IC_ConfigChannel(&htim2, &sConfigIC, TIM_CHANNEL_2) != HAL_OK)
  {
    Error_Handler();
  }
  sMasterConfig.MasterOutputTrigger = TIM_TRGO_RESET;
  sMasterConfig.MasterSlaveMode = TIM_MASTERSLAVEMODE_DISABLE;
  if (HAL_TIMEx_MasterConfigSynchronization(&htim2, &sMasterConfig) != HAL_OK)
  {
    Error_Handler();
  }

}

static void MX_TIM3_Init(void)
{

  TIM_ClockConfigTypeDef sClockSourceConfig = {0};
  TIM_SlaveConfigTypeDef sSlaveConfig = {0};
  TIM_IC_InitTypeDef sConfigIC = {0};
  TIM_MasterConfigTypeDef sMasterConfig = {0};

  htim3.Instance = TIM3;
  htim3.Init.Prescaler = 0;
  htim3.Init.CounterMode = TIM_COUNTERMODE_UP;
  htim3.Init.Period = 65535;
  htim3.Init.ClockDivision = TIM_CLOCKDIVISION_DIV1;
  htim3.Init.AutoReloadPreload = TIM_AUTORELOAD_PRELOAD_DISABLE;
  if (HAL_TIM_Base_Init(&htim3) != HAL_OK)
  {
    Error_Handler();
  }
  sClockSourceConfig.ClockSource = TIM_CLOCKSOURCE_INTERNAL;
  if (HAL_TIM_ConfigClockSource(&htim3, &sClockSourceConfig) != HAL_OK)
  {
    Error_Handler();
  }
  if (HAL_TIM_IC_Init(&htim3) != HAL_OK)
  {
    Error_Handler();
  }
  sSlaveConfig.SlaveMode = TIM_SLAVEMODE_RESET;
  sSlaveConfig.InputTrigger = TIM_TS_TI2FP2;
  sSlaveConfig.TriggerPolarity = TIM_INPUTCHANNELPOLARITY_FALLING;
  sSlaveConfig.TriggerPrescaler = TIM_ICPSC_DIV1;
  sSlaveConfig.TriggerFilter = 0;
  if (HAL_TIM_SlaveConfigSynchro(&htim3, &sSlaveConfig) != HAL_OK)
  {
    Error_Handler();
  }
  sConfigIC.ICPolarity = TIM_INPUTCHANNELPOLARITY_RISING;
  sConfigIC.ICSelection = TIM_ICSELECTION_INDIRECTTI;
  sConfigIC.ICPrescaler = TIM_ICPSC_DIV1;
  sConfigIC.ICFilter = 0;
  if (HAL_TIM_IC_ConfigChannel(&htim3, &sConfigIC, TIM_CHANNEL_1) != HAL_OK)
  {
    Error_Handler();
  }
  sConfigIC.ICPolarity = TIM_INPUTCHANNELPOLARITY_FALLING;
  sConfigIC.ICSelection = TIM_ICSELECTION_DIRECTTI;
  if (HAL_TIM_IC_ConfigChannel(&htim3, &sConfigIC, TIM_CHANNEL_2) != HAL_OK)
  {
    Error_Handler();
  }
  sMasterConfig.MasterOutputTrigger = TIM_TRGO_RESET;
  sMasterConfig.MasterSlaveMode = TIM_MASTERSLAVEMODE_DISABLE;
  if (HAL_TIMEx_MasterConfigSynchronization(&htim3, &sMasterConfig) != HAL_OK)
  {
    Error_Handler();
  }

}

static void MX_TIM4_Init(void)
{

  TIM_ClockConfigTypeDef sClockSourceConfig = {0};
  TIM_SlaveConfigTypeDef sSlaveConfig = {0};
  TIM_IC_InitTypeDef sConfigIC = {0};
  TIM_MasterConfigTypeDef sMasterConfig = {0};

  htim4.Instance = TIM4;
  htim4.Init.Prescaler = 0;
  htim4.Init.CounterMode = TIM_COUNTERMODE_UP;
  htim4.Init.Period = 65535;
  htim4.Init.ClockDivision = TIM_CLOCKDIVISION_DIV1;
  htim4.Init.AutoReloadPreload = TIM_AUTORELOAD_PRELOAD_DISABLE;
  if (HAL_TIM_Base_Init(&htim4) != HAL_OK)
  {
    Error_Handler();
  }
  sClockSourceConfig.ClockSource = TIM_CLOCKSOURCE_INTERNAL;
  if (HAL_TIM_ConfigClockSource(&htim4, &sClockSourceConfig) != HAL_OK)
  {
    Error_Handler();
  }
  if (HAL_TIM_IC_Init(&htim4) != HAL_OK)
  {
    Error_Handler();
  }
  sSlaveConfig.SlaveMode = TIM_SLAVEMODE_RESET;
  sSlaveConfig.InputTrigger = TIM_TS_TI1FP1;
  sSlaveConfig.TriggerPolarity = TIM_INPUTCHANNELPOLARITY_RISING;
  sSlaveConfig.TriggerPrescaler = TIM_ICPSC_DIV1;
  sSlaveConfig.TriggerFilter = 0;
  if (HAL_TIM_SlaveConfigSynchro(&htim4, &sSlaveConfig) != HAL_OK)
  {
    Error_Handler();
  }
  sConfigIC.ICPolarity = TIM_INPUTCHANNELPOLARITY_RISING;
  sConfigIC.ICSelection = TIM_ICSELECTION_DIRECTTI;
  sConfigIC.ICPrescaler = TIM_ICPSC_DIV1;
  sConfigIC.ICFilter = 0;
  if (HAL_TIM_IC_ConfigChannel(&htim4, &sConfigIC, TIM_CHANNEL_1) != HAL_OK)
  {
    Error_Handler();
  }
  sConfigIC.ICPolarity = TIM_INPUTCHANNELPOLARITY_FALLING;
  sConfigIC.ICSelection = TIM_ICSELECTION_INDIRECTTI;
  if (HAL_TIM_IC_ConfigChannel(&htim4, &sConfigIC, TIM_CHANNEL_2) != HAL_OK)
  {
    Error_Handler();
  }
  sMasterConfig.MasterOutputTrigger = TIM_TRGO_RESET;
  sMasterConfig.MasterSlaveMode = TIM_MASTERSLAVEMODE_DISABLE;
  if (HAL_TIMEx_MasterConfigSynchronization(&htim4, &sMasterConfig) != HAL_OK)
  {
    Error_Handler();
  }

}

static void MX_TIM8_Init(void)
{

  TIM_ClockConfigTypeDef sClockSourceConfig = {0};
  TIM_SlaveConfigTypeDef sSlaveConfig = {0};
  TIM_IC_InitTypeDef sConfigIC = {0};
  TIM_MasterConfigTypeDef sMasterConfig = {0};

  htim8.Instance = TIM8;
  htim8.Init.Prescaler = 0;
  htim8.Init.CounterMode = TIM_COUNTERMODE_UP;
  htim8.Init.Period = 65535;
  htim8.Init.ClockDivision = TIM_CLOCKDIVISION_DIV1;
  htim8.Init.RepetitionCounter = 0;
  htim8.Init.AutoReloadPreload = TIM_AUTORELOAD_PRELOAD_DISABLE;
  if (HAL_TIM_Base_Init(&htim8) != HAL_OK)
  {
    Error_Handler();
  }
  sClockSourceConfig.ClockSource = TIM_CLOCKSOURCE_INTERNAL;
  if (HAL_TIM_ConfigClockSource(&htim8, &sClockSourceConfig) != HAL_OK)
  {
    Error_Handler();
  }
  if (HAL_TIM_IC_Init(&htim8) != HAL_OK)
  {
    Error_Handler();
  }
  sSlaveConfig.SlaveMode = TIM_SLAVEMODE_RESET;
  sSlaveConfig.InputTrigger = TIM_TS_TI1FP1;
  sSlaveConfig.TriggerPolarity = TIM_INPUTCHANNELPOLARITY_RISING;
  sSlaveConfig.TriggerPrescaler = TIM_ICPSC_DIV1;
  sSlaveConfig.TriggerFilter = 0;
  if (HAL_TIM_SlaveConfigSynchro(&htim8, &sSlaveConfig) != HAL_OK)
  {
    Error_Handler();
  }
  sConfigIC.ICPolarity = TIM_INPUTCHANNELPOLARITY_RISING;
  sConfigIC.ICSelection = TIM_ICSELECTION_DIRECTTI;
  sConfigIC.ICPrescaler = TIM_ICPSC_DIV1;
  sConfigIC.ICFilter = 0;
  if (HAL_TIM_IC_ConfigChannel(&htim8, &sConfigIC, TIM_CHANNEL_1) != HAL_OK)
  {
    Error_Handler();
  }
  sConfigIC.ICPolarity = TIM_INPUTCHANNELPOLARITY_FALLING;
  sConfigIC.ICSelection = TIM_ICSELECTION_INDIRECTTI;
  if (HAL_TIM_IC_ConfigChannel(&htim8, &sConfigIC, TIM_CHANNEL_2) != HAL_OK)
  {
    Error_Handler();
  }
  sMasterConfig.MasterOutputTrigger = TIM_TRGO_RESET;
  sMasterConfig.MasterSlaveMode = TIM_MASTERSLAVEMODE_DISABLE;
  if (HAL_TIMEx_MasterConfigSynchronization(&htim8, &sMasterConfig) != HAL_OK)
  {
    Error_Handler();
  }

}

static void MX_TIM14_Init(void)
{

  htim14.Instance = TIM14;
  htim14.Init.Prescaler = 159;
  htim14.Init.CounterMode = TIM_COUNTERMODE_UP;
  htim14.Init.Period = 99;
  htim14.Init.ClockDivision = TIM_CLOCKDIVISION_DIV1;
  htim14.Init.AutoReloadPreload = TIM_AUTORELOAD_PRELOAD_DISABLE;
  if (HAL_TIM_Base_Init(&htim14) != HAL_OK)
  {
    Error_Handler();
  }

}

static void MX_UART4_Init(void)
{

  huart4.Instance = UART4;
  huart4.Init.BaudRate = 38400;
  huart4.Init.WordLength = UART_WORDLENGTH_8B;
  huart4.Init.StopBits = UART_STOPBITS_1;
  huart4.Init.Parity = UART_PARITY_NONE;
  huart4.Init.Mode = UART_MODE_TX_RX;
  huart4.Init.HwFlowCtl = UART_HWCONTROL_NONE;
  huart4.Init.OverSampling = UART_OVERSAMPLING_16;
  if (HAL_UART_Init(&huart4) != HAL_OK)
  {
    Error_Handler();
  }

}

static void MX_USART2_UART_Init(void)
{

  huart2.Instance = USART2;
  huart2.Init.BaudRate = 115200;
  huart2.Init.WordLength = UART_WORDLENGTH_8B;
  huart2.Init.StopBits = UART_STOPBITS_1;
  huart2.Init.Parity = UART_PARITY_NONE;
  huart2.Init.Mode = UART_MODE_TX_RX;
  huart2.Init.HwFlowCtl = UART_HWCONTROL_NONE;
  huart2.Init.OverSampling = UART_OVERSAMPLING_16;
  if (HAL_UART_Init(&huart2) != HAL_OK)
  {
    Error_Handler();
  }

}

static void MX_DMA_Init(void)
{

  /* DMA controller clock enable */
  __HAL_RCC_DMA2_CLK_ENABLE();
  __HAL_RCC_DMA1_CLK_ENABLE();

  /* DMA interrupt init */
  /* DMA1_Stream2_IRQn interrupt configuration */
  HAL_NVIC_SetPriority(DMA1_Stream2_IRQn, 0, 0);
  HAL_NVIC_EnableIRQ(DMA1_Stream2_IRQn);
  /* DMA1_Stream3_IRQn interrupt configuration */
  HAL_NVIC_SetPriority(DMA1_Stream3_IRQn, 0, 0);
  HAL_NVIC_EnableIRQ(DMA1_Stream3_IRQn);
  /* DMA1_Stream4_IRQn interrupt configuration */
  HAL_NVIC_SetPriority(DMA1_Stream4_IRQn, 0, 0);
  HAL_NVIC_EnableIRQ(DMA1_Stream4_IRQn);
  /* DMA2_Stream0_IRQn interrupt configuration */
  HAL_NVIC_SetPriority(DMA2_Stream0_IRQn, 0, 0);
  HAL_NVIC_EnableIRQ(DMA2_Stream0_IRQn);
  /* DMA2_Stream3_IRQn interrupt configuration */
  HAL_NVIC_SetPriority(DMA2_Stream3_IRQn, 0, 0);
  HAL_NVIC_EnableIRQ(DMA2_Stream3_IRQn);
  /* DMA2_Stream5_IRQn interrupt configuration */
  HAL_NVIC_SetPriority(DMA2_Stream5_IRQn, 0, 0);
  HAL_NVIC_EnableIRQ(DMA2_Stream5_IRQn);
  /* DMA2_Stream6_IRQn interrupt configuration */
  HAL_NVIC_SetPriority(DMA2_Stream6_IRQn, 0, 0);
  HAL_NVIC_EnableIRQ(DMA2_Stream6_IRQn);

}

static void MX_GPIO_Init(void)
{
  GPIO_InitTypeDef GPIO_InitStruct = {0};

  /* GPIO Ports Clock Enable */
  __HAL_RCC_GPIOC_CLK_ENABLE();
  __HAL_RCC_GPIOA_CLK_ENABLE();
  __HAL_RCC_GPIOB_CLK_ENABLE();
  __HAL_RCC_GPIOD_CLK_ENABLE();

  /*Configure GPIO pin Output Level */
  HAL_GPIO_WritePin(USER_LED_GPIO_Port, USER_LED_Pin, GPIO_PIN_RESET);

  /*Configure GPIO pin Output Level */
  HAL_GPIO_WritePin(IMU_CS_GPIO_Port, IMU_CS_Pin, GPIO_PIN_RESET);

  /*Configure GPIO pin Output Level */
  HAL_GPIO_WritePin(GPIOB, LoRa_Reset_Pin|LoRa_CS_Pin, GPIO_PIN_RESET);

  /*Configure GPIO pin : USER_LED_Pin */
  GPIO_InitStruct.Pin = USER_LED_Pin;
  GPIO_InitStruct.Mode = GPIO_MODE_OUTPUT_PP;
  GPIO_InitStruct.Pull = GPIO_NOPULL;
  GPIO_InitStruct.Speed = GPIO_SPEED_FREQ_LOW;
  HAL_GPIO_Init(USER_LED_GPIO_Port, &GPIO_InitStruct);

  /*Configure GPIO pin : IMU_INT_Pin */
  GPIO_InitStruct.Pin = IMU_INT_Pin;
  GPIO_InitStruct.Mode = GPIO_MODE_INPUT;
  GPIO_InitStruct.Pull = GPIO_NOPULL;
  HAL_GPIO_Init(IMU_INT_GPIO_Port, &GPIO_InitStruct);

  /*Configure GPIO pin : IMU_CS_Pin */
  GPIO_InitStruct.Pin = IMU_CS_Pin;
  GPIO_InitStruct.Mode = GPIO_MODE_OUTPUT_PP;
  GPIO_InitStruct.Pull = GPIO_NOPULL;
  GPIO_InitStruct.Speed = GPIO_SPEED_FREQ_LOW;
  HAL_GPIO_Init(IMU_CS_GPIO_Port, &GPIO_InitStruct);

  /*Configure GPIO pins : LoRa_Reset_Pin LoRa_CS_Pin */
  GPIO_InitStruct.Pin = LoRa_Reset_Pin|LoRa_CS_Pin;
  GPIO_InitStruct.Mode = GPIO_MODE_OUTPUT_PP;
  GPIO_InitStruct.Pull = GPIO_NOPULL;
  GPIO_InitStruct.Speed = GPIO_SPEED_FREQ_LOW;
  HAL_GPIO_Init(GPIOB, &GPIO_InitStruct);

}

void Error_Handler(void)
{
  __disable_irq();
  while (1)
  {
  }
}
